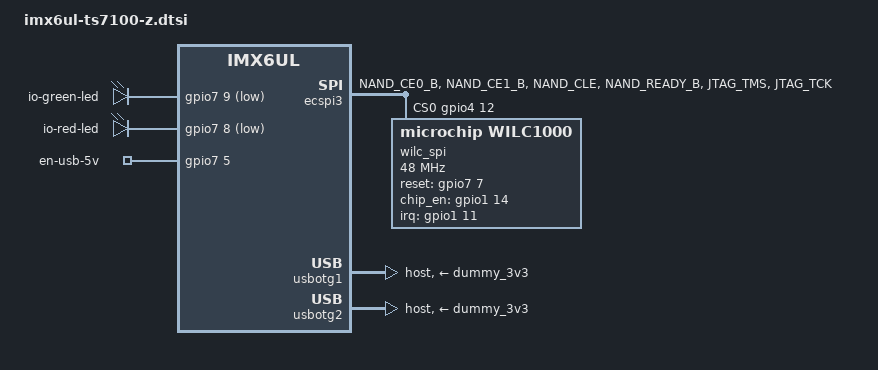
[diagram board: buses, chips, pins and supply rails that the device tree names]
/*
 * Copyright (C) 2019-2022 Technologic Systems, Inc. dba embeddedTS
 *
 * This program is free software; you can redistribute it and/or modify
 * it under the terms of the GNU General Public License version 2 as
 * published by the Free Software Foundation.
 */

/ {
	leds {
		compatible = "gpio-leds";

		io-green-led {
			label = "io-green-led";
			gpios = <&gpio7 9 GPIO_ACTIVE_LOW>;
			default-state = "off";
		};

		io-red-led {
			label = "io-red-led";
			gpios = <&gpio7 8 GPIO_ACTIVE_LOW>;
			default-state = "off";
		};

		/* The following are meant to be userspace controlled IO. The
		 * kernel does not allow setting default state of GPIO, but
		 * the default state of LEDs can be set, which is why the LED
		 * subsystem is used.
		 */

		/* The actual switch is present on the TS-7100-Z baseboard, so
		 * we specifically implement control for it here. It is
		 * dependent on the FPGA GPIO which is set up in the
		 * 7100.dtsi. No iomux needs to be set up for it.
		 */
		en-usb-5v {
			label = "en-usb-5v";
			gpios = <&gpio7 5 GPIO_ACTIVE_HIGH>;
			default-state = "on";
		};
	};
};

&ecspi3 {
	fsl,spi-num-chipselects = <1>;
	cs-gpios = <&gpio4 12 GPIO_ACTIVE_HIGH>;
	pinctrl-names = "default";
	pinctrl-0 = <&pinctrl_ecspi3>;
	status = "okay";

	wilc_spi@0 {
		compatible = "microchip,wilc1000", "microchip,wilc3000";
		reg = <0>;
		spi-max-frequency = <48000000>;
		/* These are in FPGA! */
		reset-gpios = <&gpio7 7 GPIO_ACTIVE_HIGH>;
		chip_en-gpios = <&gpio1 14 GPIO_ACTIVE_HIGH>;
		interrupt-parent = <&gpio1>;
		interrupts = <11 GPIO_ACTIVE_HIGH>;
		status = "okay";
	};

};


/* CPU GPIO1: 209c000.gpio */
&gpio1 {
	gpio-line-names =
		"AN_CH4",        "RTC_BATT_FAIL", "I2C_1_CLK",     "I2C_1_DAT",
		"AN_CH0",        "AN_CH1",        "",              "",
		"AN_CH2",        "AN_CH3",        "",              "",
		"",              "",              "",              "",
		"",              "",              "",              "",
		"",              "",              "",              "",
		"",              "",              "",              "",
		"",              "",              "",              "";
};

/* CPU GPIO3: 20a4000.gpio */
&gpio3 {
	gpio-line-names =
		"",              "",              "",              "",
		"",              "",              "",              "",
		"",              "",              "",              "",
		"",              "",              "NIM_STATUS",    "",
		"",              "",              "",              "",
		"",              "",              "",              "",
		"",              "",              "",              "",
		"",              "",              "",              "";
};

/* CPU GPIO5: 20ac000.gpio */
&gpio5 {
	gpio-line-names =
		"POWER_FAIL_3V", "FPGA_IRQ",      "",              "",
		"EN_RELAY_1",    "EN_RELAY_2",    "NIM_RESET",     "",
		"",              "",              "",              "",
		"",              "",              "",              "",
		"",              "",              "",              "",
		"",              "",              "",              "",
		"",              "",              "",              "",
		"",              "",              "",              "";
};

/* FPGA dio: 50004010.gpio */
&gpio6 {
	gpio-line-names =
		"DIO_1_OUT", "DIO_2_OUT", "DIO_1_IN",  "DIO_2_IN",
		"DIO_3_IN",  "DIO_6",     "DIG_IN_1",  "DIG_IN_2",
		"DIG_IN_3",  "EN_CL_1",   "EN_CL_2",   "EN_CL_3",
		"",          "",          "EN_CL_4",   "EN_HS_SW";
};

/* FPGA dio2: 50004040.gpio */
&gpio7 {
	gpio-line-names =
		"EN_EMMC_3V3#",   "EN_ADC1_12V",    "EN_ADC2_12V",    "EN_ADC3_12V",
		"EN_ADC4_12V",    "EN_USB_HOST_5V", "PHY_RESET#",     "WIFI_RESET#",
		"IO_RED_LED#",    "IO_GREEN_LED#",  "",               "",
		"EN_PROG_SILAB",  "DIO_3_OUT",      "EN_HSPWM",       "EN_LSPWM";
};

/* FPGA dio3: 50004050.gpio */
&gpio8 {
	gpio-line-names =
		"CPU_TOUCH_IRQ#", "",               "C6_PAD",         "B8_PAD",
		"C9_PAD",         "C8_PAD",         "NIM_3V3#_4V",    "DIO_16_PAD",
		"NIM_PWR_ON",     "SEL_NIM_USB",    "DIO_FAULT#",     "",
		"",               "",               "EN_BK_LT#",      "";
};

&iomuxc {
	pinctrl-0 = <&ts7100_pinctrl_hog &ts7100z_pinctrl_hog>;
	imx6ul-7100 {
		pinctrl_ecspi3: ecspi3grp {
			fsl,pins = <
				MX6UL_PAD_NAND_CE0_B__ECSPI3_SCLK	0x1b020
				MX6UL_PAD_NAND_CE1_B__ECSPI3_MOSI	0x1b020
				MX6UL_PAD_NAND_CLE__ECSPI3_MISO		0x1b020
				/* WIFI CS# */
				MX6UL_PAD_NAND_READY_B__GPIO4_IO12	0x1b020
				/* WIFI IRQ */
				MX6UL_PAD_JTAG_TMS__GPIO1_IO11		0x1b020
				/* EN WIFI PWR */
				MX6UL_PAD_JTAG_TCK__GPIO1_IO14		0x1b020
			>;
		};

		ts7100z_pinctrl_hog: 7100z_hoggrp {
			fsl,pins = <
				/* All GPIO should be 0x1b020 unless special
				 * 0x1b020 == Hyst., 100k PU, 50 mA drive
				 * 0x1a020 == no pull resistor
				 * 0x13020 == 100k PD
				 */

				/* EN_RELAY 1 */
				MX6UL_PAD_SNVS_TAMPER4__GPIO5_IO04	0x1a020
				/* EN_RELAY 2 */
				MX6UL_PAD_SNVS_TAMPER5__GPIO5_IO05	0x1a020
				/* PUSH_SW_CPU# */
				MX6UL_PAD_JTAG_TDI__GPIO1_IO13		0x1b020
				/* CAN1, NC on IO board */
				MX6UL_PAD_LCD_DATA08__GPIO3_IO13	0x1b020
				MX6UL_PAD_LCD_DATA09__GPIO3_IO14	0x1b020
			>;
		};
	};
};


&usbotg1 {
	dr_mode = "host";
	disable-over-current;
	vbus-supply = <&dummy_3v3>;
	status = "okay";
};

&usbotg2 {
	dr_mode = "host";
	disable-over-current;
	vbus-supply = <&dummy_3v3>;
	status = "okay";
};
